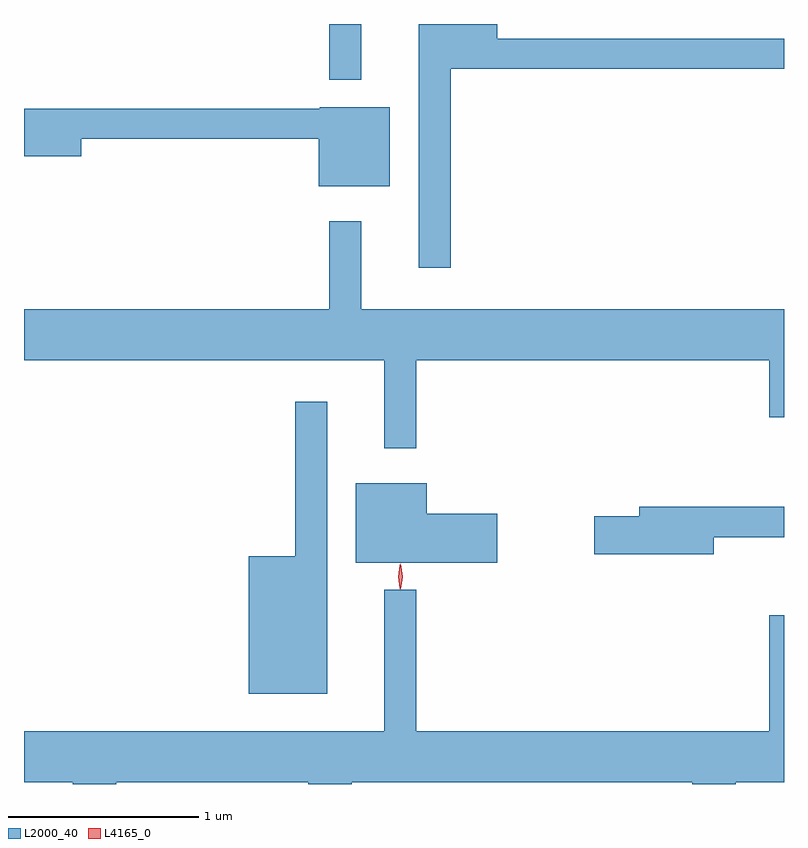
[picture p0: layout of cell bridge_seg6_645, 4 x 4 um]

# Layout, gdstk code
import gdstk
lib = gdstk.Library(unit=1e-6, precision=1e-09)
def R(c, l, rs):  # rectangles x0, y0, x1, y1
    for r in rs: c.add(gdstk.rectangle(r[:2], r[2:], *l))
def P(c, l, *ps):  # polygons
    for p in ps: c.add(gdstk.Polygon(p, *l))
L2000_40 = (2000, 40)
L4165_0 = (4165, 0)

bridge_seg6_645 = lib.new_cell('bridge_seg6_645')
R(bridge_seg6_645, L2000_40, [(232.741,1624.773,232.909,1625.066)])
P(bridge_seg6_645, L2000_40, [(233.379,1624.831),(235.134,1624.831),(235.134,1624.989),(233.624,1624.989),(233.624,1625.066),(233.211,1625.066),(233.211,1623.783),(233.379,1623.783)],
  [(233.059,1624.629),(232.69,1624.629),(232.69,1624.619),(231.134,1624.619),(231.134,1624.371),(231.434,1624.371),(231.434,1624.461),(232.686,1624.461),(232.686,1624.211),(233.059,1624.211)],
  [(233.199,1623.296),(235.056,1623.296),(235.056,1622.996),(235.134,1622.996),(235.134,1623.564),(232.909,1623.564),(232.909,1624.028),(232.741,1624.028),(232.741,1623.564),(231.134,1623.564),(231.134,1623.296),(233.031,1623.296),(233.031,1622.833),(233.199,1622.833)],
  [(232.729,1623.078),(232.561,1623.078),(232.561,1622.264),(232.316,1622.264),(232.316,1621.541),(232.729,1621.541)],
  [(233.624,1622.489),(233.254,1622.489),(233.254,1622.649),(232.881,1622.649),(232.881,1622.231),(233.624,1622.231)],
  [(234.764,1622.366),(235.134,1622.366),(235.134,1622.524),(234.371,1622.524),(234.371,1622.474),(234.136,1622.474),(234.136,1622.276),(234.764,1622.276)],
  [(231.619,1621.076),(232.631,1621.076),(232.631,1621.066),(232.859,1621.066),(232.859,1621.076),(234.651,1621.076),(234.651,1621.066),(234.879,1621.066),(234.879,1621.076),(235.134,1621.076),(235.134,1621.954),(235.056,1621.954),(235.056,1621.344),(233.199,1621.344),(233.199,1622.088),(233.031,1622.088),(233.031,1621.344),(231.134,1621.344),(231.134,1621.076),(231.391,1621.076),(231.391,1621.066),(231.619,1621.066)])
P(bridge_seg6_645, L4165_0, [(233.112,1622.093),(233.103,1622.156),(233.112,1622.219),(233.112,1622.22),(233.113,1622.219),(233.123,1622.156),(233.114,1622.093),(233.113,1622.093)],
  [(233.117,1622.09),(233.108,1622.158),(233.117,1622.226),(233.118,1622.226),(233.118,1622.226),(233.128,1622.158),(233.118,1622.09),(233.118,1622.09)])

lib.write_gds('bridge_seg6_645.gds')
